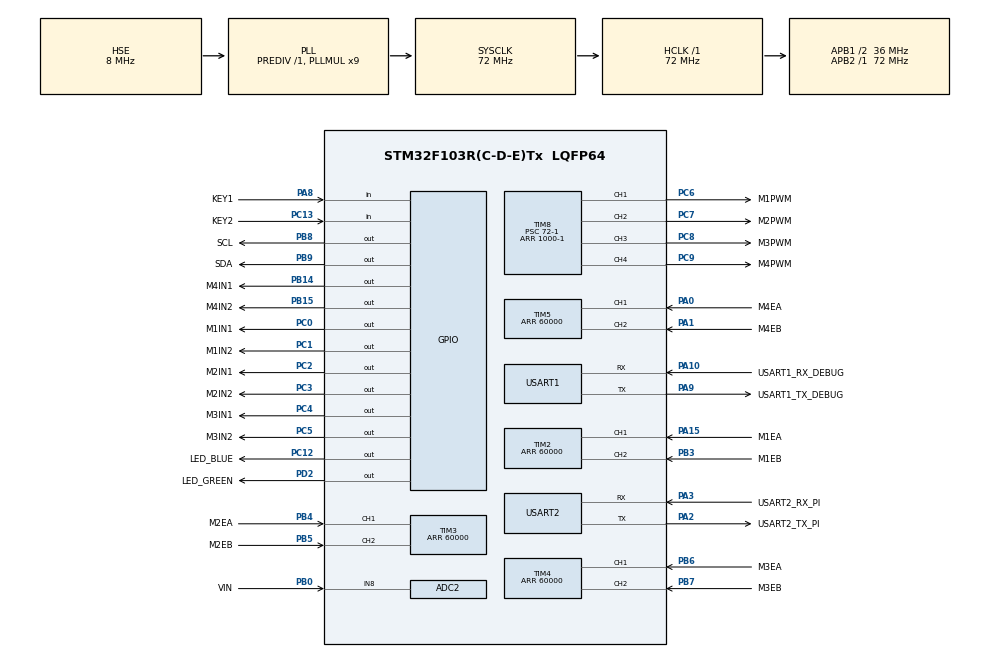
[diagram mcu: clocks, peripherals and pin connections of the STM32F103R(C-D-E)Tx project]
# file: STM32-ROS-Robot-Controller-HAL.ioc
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ADC1.Channel-0\#ChannelRegularConversion=ADC_CHANNEL_VREFINT
ADC1.NbrOfConversionFlag=1
ADC1.Rank-0\#ChannelRegularConversion=1
ADC1.SamplingTime-0\#ChannelRegularConversion=ADC_SAMPLETIME_1CYCLE_5
ADC1.master=1
ADC2.Channel-0\#ChannelRegularConversion=ADC_CHANNEL_8
ADC2.NbrOfConversion=1
ADC2.NbrOfConversionFlag=1
ADC2.Rank-0\#ChannelRegularConversion=1
ADC2.SamplingTime-0\#ChannelRegularConversion=ADC_SAMPLETIME_1CYCLE_5
FREERTOS.HEAP_NUMBER=4
FREERTOS.INCLUDE_eTaskGetState=1
FREERTOS.MEMORY_ALLOCATION=2
FREERTOS.Tasks01=StartDefaultTas,0,256,StartDefaultTask,Default,NULL,Dynamic,NULL,NULL;KEY,-1,256,key_task,As external,NULL,Dynamic,NULL,NULL;VIN,-1,512,vin_task,As external,NULL,Dynamic,NULL,NULL;PI,2,256,pi_task,As external,NULL,Dynamic,NULL,NULL;MOVE,2,256,move_task,As external,NULL,Dynamic,NULL,NULL;IMU,1,512,imu_task,As external,NULL,Dynamic,NULL,NULL;LED,-1,512,led_task,As external,NULL,Dynamic,NULL,NULL;OTHER,0,256,other_task,As external,NULL,Dynamic,NULL,NULL;CMD,0,512,cmd_task,As external,NULL,Dynamic,NULL,NULL
FREERTOS.configCHECK_FOR_STACK_OVERFLOW=2
FREERTOS.configMINIMAL_STACK_SIZE=256
FREERTOS.configTOTAL_HEAP_SIZE=20000
FREERTOS.configUSE_NEWLIB_REENTRANT=0
FREERTOS.configUSE_STATS_FORMATTING_FUNCTIONS=1
FREERTOS.configUSE_TRACE_FACILITY=1
Mcu.Family=STM32F1
Mcu.Name=STM32F103R(C-D-E)Tx
Mcu.Package=LQFP64
NVIC.PriorityGroup=NVIC_PRIORITYGROUP_4
NVIC.TIM6_IRQn=true\:15\:0\:false\:false\:true\:false\:false\:true
NVIC.TimeBase=TIM6_IRQn
NVIC.TimeBaseIP=TIM6
NVIC.USART1_IRQn=true\:5\:0\:false\:false\:true\:true\:true\:true
NVIC.USART2_IRQn=true\:5\:0\:false\:false\:true\:true\:true\:true
PA0-WKUP.GPIO_Label=M4EA
PA0-WKUP.Signal=S_TIM5_CH1
PA1.GPIO_Label=M4EB
PA1.Signal=S_TIM5_CH2
PA10.GPIO_Label=USART1_RX_DEBUG
PA10.Mode=Asynchronous
PA10.Signal=USART1_RX
PA13.GPIO_Label=SWDIO
PA13.Mode=Serial_Wire
PA13.Signal=SYS_JTMS-SWDIO
PA14.GPIO_Label=SWCLK
PA14.Mode=Serial_Wire
PA14.Signal=SYS_JTCK-SWCLK
PA15.GPIO_Label=M1EA
PA15.Signal=S_TIM2_CH1_ETR
PA2.GPIO_Label=USART2_TX_PI
PA2.Mode=Asynchronous
PA2.Signal=USART2_TX
PA3.GPIO_Label=USART2_RX_PI
PA3.Mode=Asynchronous
PA3.Signal=USART2_RX
PA8.GPIO_Label=KEY1
PA8.GPIO_PuPd=GPIO_PULLUP
PA8.Signal=GPIO_Input
PA9.GPIO_Label=USART1_TX_DEBUG
PA9.Mode=Asynchronous
PA9.Signal=USART1_TX
PB0.GPIO_Label=VIN
PB0.Signal=ADCx_IN8
PB14.GPIO_Label=M4IN1
PB14.GPIO_Speed=GPIO_SPEED_FREQ_HIGH
PB14.Signal=GPIO_Output
PB15.GPIO_Label=M4IN2
PB15.GPIO_Speed=GPIO_SPEED_FREQ_HIGH
PB15.Signal=GPIO_Output
PB3.GPIO_Label=M1EB
PB3.Signal=S_TIM2_CH2
PB4.GPIO_Label=M2EA
PB4.Signal=S_TIM3_CH1
PB5.GPIO_Label=M2EB
PB5.Signal=S_TIM3_CH2
PB6.GPIO_Label=M3EA
PB6.Signal=S_TIM4_CH1
PB7.GPIO_Label=M3EB
PB7.Signal=S_TIM4_CH2
PB8.GPIO_Label=SCL
PB8.GPIO_PuPd=GPIO_PULLUP
PB8.GPIO_Speed=GPIO_SPEED_FREQ_HIGH
PB8.PinState=GPIO_PIN_SET
PB8.Signal=GPIO_Output
PB9.GPIO_Label=SDA
PB9.GPIO_PuPd=GPIO_PULLUP
PB9.GPIO_Speed=GPIO_SPEED_FREQ_HIGH
PB9.PinState=GPIO_PIN_SET
PB9.Signal=GPIO_Output
PC0.GPIO_Label=M1IN1
PC0.GPIO_Speed=GPIO_SPEED_FREQ_HIGH
PC0.Signal=GPIO_Output
PC1.GPIO_Label=M1IN2
PC1.GPIO_Speed=GPIO_SPEED_FREQ_HIGH
PC1.Signal=GPIO_Output
PC12.GPIO_Label=LED_BLUE
PC12.GPIO_Speed=GPIO_SPEED_FREQ_HIGH
PC12.PinState=GPIO_PIN_SET
PC12.Signal=GPIO_Output
PC13-TAMPER-RTC.GPIO_Label=KEY2
PC13-TAMPER-RTC.GPIO_PuPd=GPIO_PULLUP
PC13-TAMPER-RTC.Signal=GPIO_Input
PC2.GPIO_Label=M2IN1
PC2.GPIO_Speed=GPIO_SPEED_FREQ_HIGH
PC2.Signal=GPIO_Output
PC3.GPIO_Label=M2IN2
PC3.GPIO_Speed=GPIO_SPEED_FREQ_HIGH
PC3.Signal=GPIO_Output
PC4.GPIO_Label=M3IN1
PC4.GPIO_Speed=GPIO_SPEED_FREQ_HIGH
PC4.Signal=GPIO_Output
PC5.GPIO_Label=M3IN2
PC5.GPIO_Speed=GPIO_SPEED_FREQ_HIGH
PC5.Signal=GPIO_Output
PC6.GPIO_Label=M1PWM
PC6.GPIO_Speed=GPIO_SPEED_FREQ_HIGH
PC6.Signal=S_TIM8_CH1
PC7.GPIO_Label=M2PWM
PC7.GPIO_Speed=GPIO_SPEED_FREQ_HIGH
PC7.Signal=S_TIM8_CH2
PC8.GPIO_Label=M3PWM
PC8.GPIO_Speed=GPIO_SPEED_FREQ_HIGH
PC8.Signal=S_TIM8_CH3
PC9.GPIO_Label=M4PWM
PC9.GPIO_Speed=GPIO_SPEED_FREQ_HIGH
PC9.Signal=S_TIM8_CH4
PD0-OSC_IN.GPIO_Label=OSCIN
PD0-OSC_IN.Mode=HSE-External-Oscillator
PD0-OSC_IN.Signal=RCC_OSC_IN
PD1-OSC_OUT.GPIO_Label=OSCOUT
PD1-OSC_OUT.Mode=HSE-External-Oscillator
PD1-OSC_OUT.Signal=RCC_OSC_OUT
PD2.GPIO_Label=LED_GREEN
PD2.GPIO_Speed=GPIO_SPEED_FREQ_HIGH
PD2.PinState=GPIO_PIN_SET
PD2.Signal=GPIO_Output
ProjectManager.HeapSize=0x200
ProjectManager.StackSize=0x400
ProjectManager.TargetToolchain=STM32CubeIDE
RCC.ADCPresc=RCC_ADCPCLK2_DIV6
RCC.AHBFreq_Value=72000000
RCC.APB1CLKDivider=RCC_HCLK_DIV2
RCC.APB1Freq_Value=36000000
RCC.APB1TimFreq_Value=72000000
RCC.APB2Freq_Value=72000000
RCC.APB2TimFreq_Value=72000000
RCC.HCLKFreq_Value=72000000
RCC.PLLMUL=RCC_PLL_MUL9
RCC.PLLSourceVirtual=RCC_PLLSOURCE_HSE
RCC.SYSCLKFreq_VALUE=72000000
RCC.SYSCLKSource=RCC_SYSCLKSOURCE_PLLCLK
RCC.USBFreq_Value=72000000
SH.ADCx_IN8.0=ADC2_IN8,IN8
SH.S_TIM2_CH1_ETR.0=TIM2_CH1,Encoder_Interface
SH.S_TIM2_CH2.0=TIM2_CH2,Encoder_Interface
SH.S_TIM3_CH1.0=TIM3_CH1,Encoder_Interface
SH.S_TIM3_CH2.0=TIM3_CH2,Encoder_Interface
SH.S_TIM4_CH1.0=TIM4_CH1,Encoder_Interface
SH.S_TIM4_CH2.0=TIM4_CH2,Encoder_Interface
SH.S_TIM5_CH1.0=TIM5_CH1,Encoder_Interface
SH.S_TIM5_CH2.0=TIM5_CH2,Encoder_Interface
SH.S_TIM8_CH1.0=TIM8_CH1,PWM Generation1 CH1
SH.S_TIM8_CH2.0=TIM8_CH2,PWM Generation2 CH2
SH.S_TIM8_CH3.0=TIM8_CH3,PWM Generation3 CH3
SH.S_TIM8_CH4.0=TIM8_CH4,PWM Generation4 CH4
TIM2.AutoReloadPreload=TIM_AUTORELOAD_PRELOAD_DISABLE
TIM2.EncoderMode=TIM_ENCODERMODE_TI12
TIM2.Period=60000
TIM3.EncoderMode=TIM_ENCODERMODE_TI12
TIM3.Period=60000
TIM4.EncoderMode=TIM_ENCODERMODE_TI12
TIM4.Period=60000
TIM5.EncoderMode=TIM_ENCODERMODE_TI12
TIM5.Period=60000
TIM8.Channel-PWM\ Generation1\ CH1=TIM_CHANNEL_1
TIM8.Channel-PWM\ Generation2\ CH2=TIM_CHANNEL_2
TIM8.Channel-PWM\ Generation3\ CH3=TIM_CHANNEL_3
TIM8.Channel-PWM\ Generation4\ CH4=TIM_CHANNEL_4
TIM8.Period=1000-1
TIM8.Prescaler=72-1
USART1.VirtualMode=VM_ASYNC
USART2.VirtualMode=VM_ASYNC
VP_ADC1_TempSens_Input.Mode=IN-TempSens
VP_ADC1_Vref_Input.Mode=IN-Vrefint
VP_FREERTOS_VS_CMSIS_V1.Mode=CMSIS_V1
VP_SYS_VS_tim6.Mode=TIM6
VP_TIM8_VS_ClockSourceINT.Mode=Internal
board=custom

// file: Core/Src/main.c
/* USER CODE BEGIN Header */
/**
  ******************************************************************************
  * @file           : main.c
  * @brief          : Main program body
  ******************************************************************************
  * @attention
  *
  * Copyright (c) 2022 STMicroelectronics.
  * All rights reserved.
  *
  * This software is licensed under terms that can be found in the LICENSE file
  * in the root directory of this software component.
  * If no LICENSE file comes with this software, it is provided AS-IS.
  *
  ******************************************************************************
  */
/* USER CODE END Header */
#include "main.h"
#include "cmsis_os.h"
#include "adc.h"
#include "tim.h"
#include "usart.h"
#include "gpio.h"

/* USER CODE BEGIN Includes */
#include "bsp_imu.h"
#include "bsp_delay.h"
#include "bsp_usart.h"
#include "bsp_vin.h"
#include "bsp_led.h"
#include "bsp_motor.h"
#include "bsp_encoder.h"
#include "bsp_other.h"

#define LOG_TAG    "MAIN"
#include "bsp_log.h"

/* USER CODE END Includes */

void SystemClock_Config(void);
void MX_FREERTOS_Init(void);

int main(void)
{

  /* MCU Configuration--------------------------------------------------------*/

  /* Reset of all peripherals, Initializes the Flash interface and the Systick. */
  HAL_Init();

  /* Configure the system clock */
  SystemClock_Config();

  /* Initialize all configured peripherals */
  MX_GPIO_Init();
  MX_USART1_UART_Init();
  MX_USART2_UART_Init();
  MX_TIM8_Init();
  MX_TIM2_Init();
  MX_TIM3_Init();
  MX_TIM4_Init();
  MX_TIM5_Init();
  MX_ADC2_Init();
  MX_ADC1_Init();
  /* USER CODE BEGIN 2 */
	Buddha_Bless();
	Log_Init();
	Motor_Init();
	Encoder_Init();
	USART_Init();

  /* USER CODE END 2 */

  /* Call init function for freertos objects (in freertos.c) */
  MX_FREERTOS_Init();
  /* Start scheduler */
  osKernelStart();

  /* We should never get here as control is now taken by the scheduler */
  /* Infinite loop */
  while (1)
  {

    /* USER CODE BEGIN 3 */
//	  HAL_GPIO_WritePin(LED_GREEN_GPIO_Port, LED_GREEN_Pin, GPIO_PIN_SET);
//	  HAL_GPIO_WritePin(LED_BLUE_GPIO_Port, LED_BLUE_Pin, GPIO_PIN_SET);
//	  HAL_Delay(200);
//	  HAL_GPIO_WritePin(LED_GREEN_GPIO_Port, LED_GREEN_Pin, GPIO_PIN_RESET);
//	  HAL_GPIO_WritePin(LED_BLUE_GPIO_Port, LED_BLUE_Pin, GPIO_PIN_RESET);
//	  HAL_Delay(200);
  }
  /* USER CODE END 3 */
}

void SystemClock_Config(void)
{
  RCC_OscInitTypeDef RCC_OscInitStruct = {0};
  RCC_ClkInitTypeDef RCC_ClkInitStruct = {0};
  RCC_PeriphCLKInitTypeDef PeriphClkInit = {0};

  /** Initializes the RCC Oscillators according to the specified parameters
  * in the RCC_OscInitTypeDef structure.
  */
  RCC_OscInitStruct.OscillatorType = RCC_OSCILLATORTYPE_HSE;
  RCC_OscInitStruct.HSEState = RCC_HSE_ON;
  RCC_OscInitStruct.HSEPredivValue = RCC_HSE_PREDIV_DIV1;
  RCC_OscInitStruct.HSIState = RCC_HSI_ON;
  RCC_OscInitStruct.PLL.PLLState = RCC_PLL_ON;
  RCC_OscInitStruct.PLL.PLLSource = RCC_PLLSOURCE_HSE;
  RCC_OscInitStruct.PLL.PLLMUL = RCC_PLL_MUL9;
  if (HAL_RCC_OscConfig(&RCC_OscInitStruct) != HAL_OK)
  {
    Error_Handler();
  }
  /** Initializes the CPU, AHB and APB buses clocks
  */
  RCC_ClkInitStruct.ClockType = RCC_CLOCKTYPE_HCLK|RCC_CLOCKTYPE_SYSCLK
                              |RCC_CLOCKTYPE_PCLK1|RCC_CLOCKTYPE_PCLK2;
  RCC_ClkInitStruct.SYSCLKSource = RCC_SYSCLKSOURCE_PLLCLK;
  RCC_ClkInitStruct.AHBCLKDivider = RCC_SYSCLK_DIV1;
  RCC_ClkInitStruct.APB1CLKDivider = RCC_HCLK_DIV2;
  RCC_ClkInitStruct.APB2CLKDivider = RCC_HCLK_DIV1;

  if (HAL_RCC_ClockConfig(&RCC_ClkInitStruct, FLASH_LATENCY_2) != HAL_OK)
  {
    Error_Handler();
  }
  PeriphClkInit.PeriphClockSelection = RCC_PERIPHCLK_ADC;
  PeriphClkInit.AdcClockSelection = RCC_ADCPCLK2_DIV6;
  if (HAL_RCCEx_PeriphCLKConfig(&PeriphClkInit) != HAL_OK)
  {
    Error_Handler();
  }
}

void HAL_TIM_PeriodElapsedCallback(TIM_HandleTypeDef *htim)
{
  if (htim->Instance == TIM6) {
    HAL_IncTick();
  }
}

void Error_Handler(void)
{
  __disable_irq();
  while (1)
  {
  }
}

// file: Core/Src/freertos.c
/* USER CODE BEGIN Header */
/**
  ******************************************************************************
  * File Name          : freertos.c
  * Description        : Code for freertos applications
  ******************************************************************************
  * @attention
  *
  * Copyright (c) 2022 STMicroelectronics.
  * All rights reserved.
  *
  * This software is licensed under terms that can be found in the LICENSE file
  * in the root directory of this software component.
  * If no LICENSE file comes with this software, it is provided AS-IS.
  *
  ******************************************************************************
  */
/* USER CODE END Header */

#include "FreeRTOS.h"
#include "task.h"
#include "main.h"
#include "cmsis_os.h"

osThreadId StartDefaultTasHandle;
osThreadId KEYHandle;
osThreadId VINHandle;
osThreadId PIHandle;
osThreadId MOVEHandle;
osThreadId IMUHandle;
osThreadId LEDHandle;
osThreadId OTHERHandle;
osThreadId CMDHandle;

void StartDefaultTask(void const * argument);
extern void key_task(void const * argument);
extern void vin_task(void const * argument);
extern void pi_task(void const * argument);
extern void move_task(void const * argument);
extern void imu_task(void const * argument);
extern void led_task(void const * argument);
extern void other_task(void const * argument);
extern void cmd_task(void const * argument);

void MX_FREERTOS_Init(void); /* (MISRA C 2004 rule 8.1) */

/* GetIdleTaskMemory prototype (linked to static allocation support) */
void vApplicationGetIdleTaskMemory( StaticTask_t **ppxIdleTaskTCBBuffer, StackType_t **ppxIdleTaskStackBuffer, uint32_t *pulIdleTaskStackSize );

/* Hook prototypes */
void vApplicationStackOverflowHook(xTaskHandle xTask, signed char *pcTaskName);

/* USER CODE BEGIN 4 */
__weak void vApplicationStackOverflowHook(xTaskHandle xTask, signed char *pcTaskName)
{
   /* Run time stack overflow checking is performed if
   configCHECK_FOR_STACK_OVERFLOW is defined to 1 or 2. This hook function is
   called if a stack overflow is detected. */
	printf("����%s ���\r\n",pcTaskName);
}
/* USER CODE END 4 */

/* USER CODE BEGIN GET_IDLE_TASK_MEMORY */
static StaticTask_t xIdleTaskTCBBuffer;
static StackType_t xIdleStack[configMINIMAL_STACK_SIZE];

void vApplicationGetIdleTaskMemory( StaticTask_t **ppxIdleTaskTCBBuffer, StackType_t **ppxIdleTaskStackBuffer, uint32_t *pulIdleTaskStackSize )
{
  *ppxIdleTaskTCBBuffer = &xIdleTaskTCBBuffer;
  *ppxIdleTaskStackBuffer = &xIdleStack[0];
  *pulIdleTaskStackSize = configMINIMAL_STACK_SIZE;
  /* place for user code */
}
/* USER CODE END GET_IDLE_TASK_MEMORY */

void MX_FREERTOS_Init(void) {

  /* Create the thread(s) */
  /* definition and creation of StartDefaultTas */
  osThreadDef(StartDefaultTas, StartDefaultTask, osPriorityNormal, 0, 256);
  StartDefaultTasHandle = osThreadCreate(osThread(StartDefaultTas), NULL);

  /* definition and creation of KEY */
  osThreadDef(KEY, key_task, osPriorityBelowNormal, 0, 256);
  KEYHandle = osThreadCreate(osThread(KEY), NULL);

  /* definition and creation of VIN */
  osThreadDef(VIN, vin_task, osPriorityBelowNormal, 0, 512);
  VINHandle = osThreadCreate(osThread(VIN), NULL);

  /* definition and creation of PI */
  osThreadDef(PI, pi_task, osPriorityHigh, 0, 256);
  PIHandle = osThreadCreate(osThread(PI), NULL);

  /* definition and creation of MOVE */
  osThreadDef(MOVE, move_task, osPriorityHigh, 0, 256);
  MOVEHandle = osThreadCreate(osThread(MOVE), NULL);

  /* definition and creation of IMU */
  osThreadDef(IMU, imu_task, osPriorityAboveNormal, 0, 512);
  IMUHandle = osThreadCreate(osThread(IMU), NULL);

  /* definition and creation of LED */
  osThreadDef(LED, led_task, osPriorityBelowNormal, 0, 512);
  LEDHandle = osThreadCreate(osThread(LED), NULL);

  /* definition and creation of OTHER */
  osThreadDef(OTHER, other_task, osPriorityNormal, 0, 256);
  OTHERHandle = osThreadCreate(osThread(OTHER), NULL);

  /* definition and creation of CMD */
  osThreadDef(CMD, cmd_task, osPriorityNormal, 0, 512);
  CMDHandle = osThreadCreate(osThread(CMD), NULL);

}

void StartDefaultTask(void const * argument)
{
  for(;;)
  {
    osDelay(1);
  }
}
